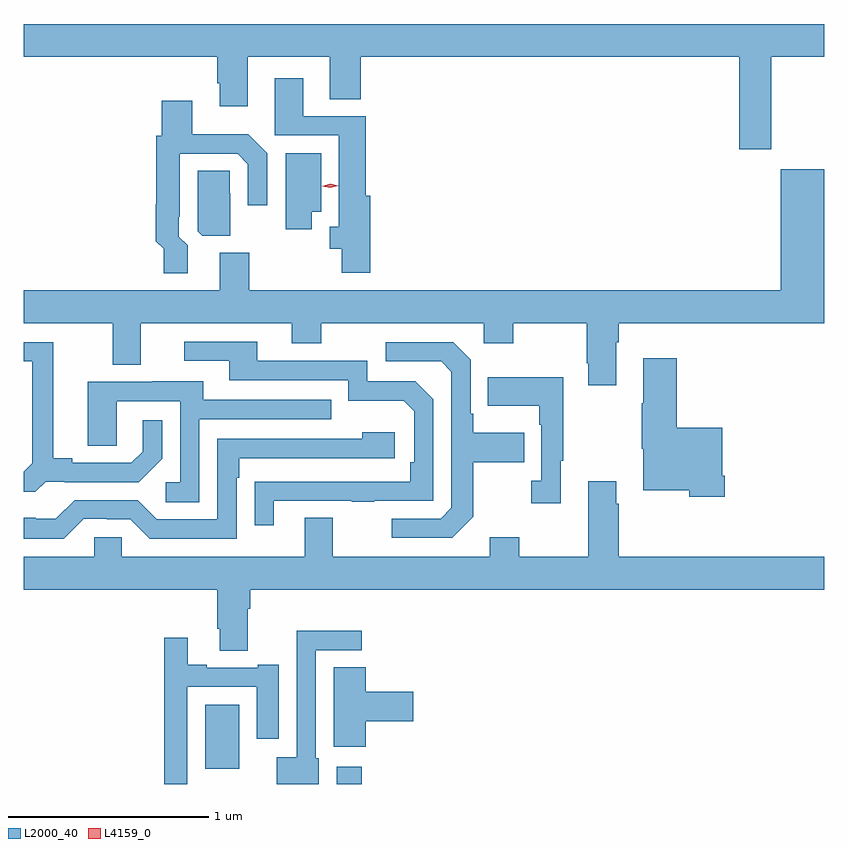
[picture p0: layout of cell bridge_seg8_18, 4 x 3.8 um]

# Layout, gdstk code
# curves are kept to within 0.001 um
import gdstk
lib = gdstk.Library(unit=1e-6, precision=1e-09)
def R(c, l, rs):  # rectangles x0, y0, x1, y1
    for r in rs: c.add(gdstk.rectangle(r[:2], r[2:], *l))
def P(c, l, *ps):  # polygons
    for p in ps: c.add(gdstk.Polygon(p, *l))
L2000_40 = (2000, 40)
L4159_0 = (4159, 0)

bridge_seg8_18 = lib.new_cell('bridge_seg8_18')
R(bridge_seg8_18, L2000_40, [(904.166,1158.153,904.292,1158.238), (903.509,1158.23,903.679,1158.55)])
P(bridge_seg8_18, L2000_40, [(906.339,1161.788),(906.603,1161.788),(906.603,1161.952),(902.603,1161.952),(902.603,1161.788),(903.569,1161.788),(903.569,1161.655),(903.581,1161.655),(903.581,1161.54),(903.721,1161.54),(903.721,1161.788),(904.133,1161.788),(904.133,1161.577),(904.286,1161.577),(904.286,1161.788),(906.179,1161.788),(906.179,1161.327),(906.339,1161.327)],
  [(904.334,1161.093),(904.313,1161.093),(904.313,1161.492),(904,1161.492),(904,1161.682),(903.857,1161.682),(903.857,1161.396),(904.178,1161.396),(904.178,1160.938),(904.133,1160.938),(904.133,1160.828),(904.192,1160.828),(904.192,1160.709),(904.334,1160.709)],
  [(903.421,1160.846),(903.378,1160.889),(903.378,1160.989),(903.381,1160.989),(903.381,1161.303),(903.672,1161.303),(903.723,1161.252),(903.723,1161.045),(903.819,1161.045),(903.819,1161.306),(903.725,1161.4),(903.445,1161.4),(903.445,1161.568),(903.293,1161.568),(903.293,1161.393),(903.265,1161.393),(903.265,1161.05),(903.263,1161.05),(903.263,1160.866),(903.301,1160.828),(903.301,1160.706),(903.421,1160.706)],
  [(904.042,1161.014),(904.09,1161.014),(904.09,1161.307),(903.911,1161.307),(903.911,1160.927),(904.042,1160.927)],
  [(905.563,1160.36),(905.576,1160.36),(905.576,1160.456),(906.603,1160.456),(906.603,1161.226),(906.386,1161.226),(906.386,1160.62),(903.729,1160.62),(903.729,1160.808),(903.581,1160.808),(903.581,1160.62),(902.603,1160.62),(902.603,1160.456),(903.047,1160.456),(903.047,1160.248),(903.187,1160.248),(903.187,1160.456),(903.941,1160.456),(903.941,1160.357),(904.089,1160.357),(904.089,1160.456),(904.902,1160.456),(904.902,1160.357),(905.049,1160.357),(905.049,1160.456),(905.416,1160.456),(905.416,1160.257),(905.423,1160.257),(905.423,1160.145),(905.563,1160.145)],
  [(903.634,1161.107),(903.633,1161.107),(903.633,1161.218),(903.471,1161.218),(903.471,1160.916),(903.495,1160.893),(903.634,1160.893)],
  [(903.853,1159.569),(904.243,1159.569),(904.243,1159.564),(904.355,1159.564),(904.355,1159.569),(904.65,1159.569),(904.65,1160.076),(904.56,1160.166),(904.32,1160.166),(904.32,1160.268),(903.769,1160.268),(903.769,1160.364),(903.405,1160.364),(903.405,1160.268),(903.629,1160.268),(903.629,1160.172),(904.224,1160.172),(904.224,1160.069),(904.501,1160.069),(904.554,1160.016),(904.554,1159.762),(904.534,1159.762),(904.534,1159.665),(903.757,1159.664),(903.757,1159.446),(903.853,1159.446)],
  [(904.849,1159.489),(904.849,1159.762),(905.105,1159.762),(905.105,1159.909),(904.849,1159.909),(904.849,1160.005),(904.836,1160.005),(904.836,1160.274),(904.749,1160.361),(904.413,1160.361),(904.413,1160.265),(904.689,1160.265),(904.74,1160.214),(904.74,1159.533),(904.686,1159.479),(904.443,1159.479),(904.443,1159.383),(904.743,1159.383)],
  [(902.712,1159.665),(902.806,1159.665),(902.806,1159.662),(903.178,1159.662),(903.294,1159.778),(903.294,1159.972),(903.197,1159.972),(903.197,1159.815),(903.14,1159.758),(902.845,1159.758),(902.845,1159.781),(902.749,1159.781),(902.749,1160.361),(902.603,1160.361),(902.603,1160.265),(902.645,1160.265),(902.645,1159.757),(902.603,1159.715),(902.603,1159.613),(902.66,1159.613)],
  [(906.107,1159.693),(906.094,1159.693),(906.094,1159.933),(905.867,1159.933),(905.867,1160.281),(905.699,1160.281),(905.699,1160.057),(905.692,1160.057),(905.692,1159.829),(905.699,1159.829),(905.699,1159.622),(905.929,1159.622),(905.929,1159.589),(906.107,1159.589)],
  [(905.287,1159.769),(905.299,1159.769),(905.299,1160.185),(904.921,1160.185),(904.921,1160.045),(905.178,1160.045),(905.178,1159.949),(905.19,1159.949),(905.19,1159.67),(905.139,1159.67),(905.139,1159.557),(905.287,1159.557)],
  [(903.48,1159.977),(904.139,1159.977),(904.139,1160.073),(903.499,1160.073),(903.499,1160.167),(903.245,1160.167),(903.245,1160.163),(902.921,1160.163),(902.921,1159.843),(903.066,1159.843),(903.066,1160.067),(903.384,1160.067),(903.384,1159.662),(903.312,1159.662),(903.312,1159.561),(903.48,1159.561)],
  [(902.901,1159.479),(903.017,1159.479),(903.017,1159.476),(903.135,1159.476),(903.231,1159.38),(903.666,1159.38),(903.666,1159.685),(903.679,1159.685),(903.679,1159.782),(904.456,1159.782),(904.456,1159.912),(904.295,1159.912),(904.295,1159.878),(903.57,1159.878),(903.57,1159.476),(903.267,1159.476),(903.171,1159.572),(902.856,1159.572),(902.763,1159.479),(902.663,1159.479),(902.663,1159.483),(902.603,1159.483),(902.603,1159.379),(902.801,1159.379)],
  [(903.721,1159.028),(903.734,1159.028),(903.734,1159.124),(906.603,1159.124),(906.603,1159.288),(905.576,1159.288),(905.576,1159.553),(905.563,1159.553),(905.563,1159.666),(905.423,1159.666),(905.423,1159.288),(905.079,1159.288),(905.079,1159.387),(904.931,1159.387),(904.931,1159.288),(904.147,1159.288),(904.147,1159.483),(904.007,1159.483),(904.007,1159.288),(903.093,1159.288),(903.093,1159.386),(902.955,1159.386),(902.955,1159.288),(902.603,1159.288),(902.603,1159.124),(903.569,1159.124),(903.569,1158.928),(903.581,1158.928),(903.581,1158.82),(903.721,1158.82)],
  [(904.078,1158.282),(904.062,1158.282),(904.062,1158.822),(904.291,1158.822),(904.291,1158.92),(903.966,1158.92),(903.966,1158.286),(903.866,1158.286),(903.866,1158.153),(904.078,1158.153)],
  [(903.42,1158.639),(903.767,1158.639),(903.767,1158.378),(903.877,1158.378),(903.877,1158.748),(903.773,1158.748),(903.773,1158.735),(903.517,1158.735),(903.517,1158.748),(903.421,1158.748),(903.421,1158.883),(903.304,1158.883),(903.304,1158.153),(903.42,1158.153)],
  [(904.313,1158.467),(904.549,1158.467),(904.549,1158.614),(904.313,1158.614),(904.313,1158.737),(904.151,1158.737),(904.151,1158.339),(904.313,1158.339)])
P(bridge_seg8_18, L4159_0, [(904.135,1161.133),(904.095,1161.142),(904.094,1161.142),(904.095,1161.142),(904.134,1161.153),(904.174,1161.144),(904.175,1161.144),(904.174,1161.144)])

lib.write_gds('bridge_seg8_18.gds')
